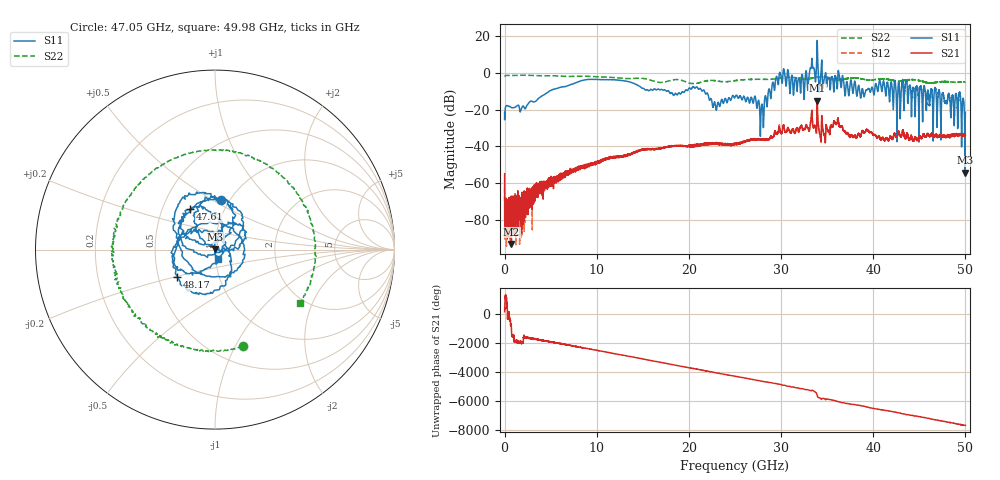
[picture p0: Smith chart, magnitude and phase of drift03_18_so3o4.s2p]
!Created with skrf (http://scikit-rf.org).
# Hz S RI R 50.0
!freq ReS11 ImS11 ReS21 ImS21 ReS12 ImS12 ReS22 ImS22
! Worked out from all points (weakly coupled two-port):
!   10001 points, 300 kHz to 50 GHz, reference 50 ohm
!   highest |S21| = -15.26 dB at 33.92 GHz (marker M1); lowest = -93.2 dB at 735.3 MHz (marker M2)
!   lowest |S11| = -54.3 dB at 49.95 GHz (marker M3), VSWR 1.00, Z = 50.1 + j0.161 ohm
!   |S11| at or under -10 dB: start of sweep to 4.849 GHz; 21.69 GHz to 28.62 GHz (6.932 GHz wide, 27.6 % of centre); 47.19 GHz to end of sweep (the widest 3 of 42)
!   |S22| runs from -5.9 to -1.3 dB; largest |S21 - S12| = 0.019
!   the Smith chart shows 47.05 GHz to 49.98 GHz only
!   S11 on the Smith chart (normalised r, x): 47.05 GHz: 0.91, +0.55; 47.61 GHz: 0.69, +0.33; 48.17 GHz: 0.63, -0.21; 49.98 GHz: 1.03, -0.10
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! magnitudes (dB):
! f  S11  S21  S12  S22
! 300 kHz  -21.7  -54.9  -62.6  -2.1
! 255.3 MHz  -17.9  -76.0  -76.4  -1.4
! 735.3 MHz  -19.0  -93.2  -71.2  -1.5
! 8.335 GHz  -4.3  -51.3  -51.0  -1.9
! 16.67 GHz  -8.8  -41.4  -41.5  -5.2
! 21.02 GHz  -8.8  -39.7  -39.2  -5.5
! 22.81 GHz  -16.1  -38.7  -38.6  -4.3
! 25 GHz  -13.4  -38.9  -39.0  -4.3
! 27.02 GHz  -15.8  -36.3  -36.3  -3.5
! 27.92 GHz  -17.1  -36.5  -36.7  -3.5
! 29.69 GHz  -6.5  -32.0  -31.8  -3.1
! 32.32 GHz  -1.5  -30.4  -30.6  -3.3
! 33.34 GHz  7.9  -20.4  -20.8  -3.0
! 33.92 GHz  17.6  -15.3  -15.6  -2.5
! 38.81 GHz  -8.8  -31.5  -31.9  -3.4
! 41.67 GHz  -9.0  -36.8  -36.7  -3.7
! 47.05 GHz  -11.1  -34.9  -34.8  -5.0
! 47.61 GHz  -11.5  -34.2  -34.2  -4.9
! 48.17 GHz  -11.7  -34.0  -34.3  -5.0
! 49.95 GHz  -54.3  -33.9  -34.3  -5.0
! 49.98 GHz  -25.5  -34.2  -33.6  -5.1
! 50 GHz  -21.6  -34.1  -34.0  -5.0
